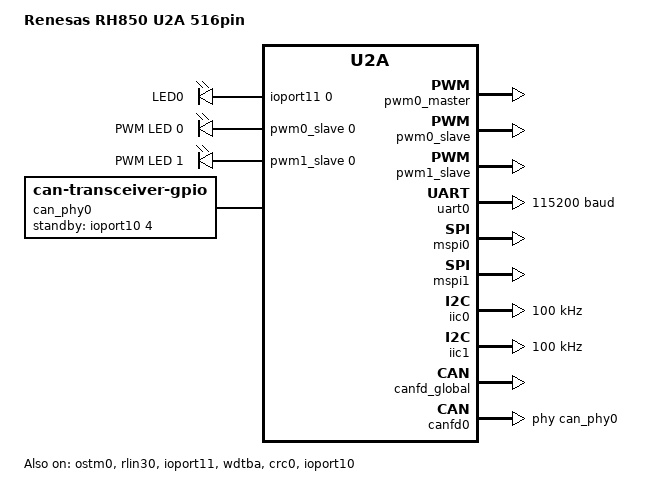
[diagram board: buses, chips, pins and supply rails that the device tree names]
/*
 * Copyright (c) 2026 Renesas Electronics Corporation
 * SPDX-License-Identifier: Apache-2.0
 */

/dts-v1/;

#include <rh850/renesas/rh850u2a/r7f702300bebbc-c.dtsi>
#include <dt-bindings/gpio/gpio.h>
#include <dt-bindings/pwm/pwm.h>

#include "pb_rh850u2a_516pin-pinctrl.dtsi"

/ {
	model = "Renesas RH850 U2A 516pin";
	compatible = "renesas,pb-rh850u2a-516pin", "renesas,u2a";

	chosen {
		zephyr,console = &uart0;
		zephyr,shell-uart = &uart0;
		zephyr,sram = &sram0;
		zephyr,flash = &flash0;
		zephyr,system-timer = &ostm0;
		zephyr,crc = &crc0;
		zephyr,canbus = &canfd0;
	};

	aliases {
		led0 = &led0;
		watchdog0 = &wdtba;
		pwm-led0 = &pwm_led_0;
		pwm-led1 = &pwm_led_1;
	};

	leds {
		compatible = "gpio-leds";

		led0: led0 {
			gpios = <&ioport11 0 GPIO_ACTIVE_HIGH>;
			label = "LED0";
		};
	};

	pwmleds {
		compatible = "pwm-leds";

		pwm_led_0: pwm_led_0 {
			pwms = <&pwm0_slave 0 PWM_MSEC(20) PWM_POLARITY_NORMAL>;
			label = "PWM LED 0";
		};

		pwm_led_1: pwm_led_1 {
			pwms = <&pwm1_slave 0 PWM_MSEC(20) PWM_POLARITY_INVERTED>;
			label = "PWM LED 1";
		};
	};

	can_phy0: can-phy0 {
		compatible = "can-transceiver-gpio";
		standby-gpios = <&ioport10 4 GPIO_ACTIVE_HIGH>;
		max-bitrate = <8000000>;
		#phy-cells = <0>;
	};
};

&pwm0_master {
	status = "okay";
};

&pwm0_slave {
	pinctrl-0 = <&pwm0_slave_default>;
	pinctrl-names = "default";
	status = "okay";
};

&pwm1_slave {
	pinctrl-0 = <&pwm1_slave_default>;
	pinctrl-names = "default";
	status = "okay";
};

&ostm0 {
	status = "okay";

	timer {
		status = "okay";
	};
};

&rlin30 {
	pinctrl-0 = <&rlin30_default>;
	pinctrl-names = "default";
	status = "okay";

	uart0: uart {
		current-speed = <115200>;
		status = "okay";
	};
};

&mspi0 {
	pinctrl-0 = <&mspi0_default>;
	pinctrl-names = "default";
	channel = <0>;
	status = "okay";
};

&mspi1 {
	pinctrl-0 = <&mspi1_default>;
	pinctrl-names = "default";
	channel = <0>;
	status = "okay";
};

&ioport11 {
	status = "okay";
};

&iic0 {
	pinctrl-0 = <&iic0_default>;
	pinctrl-names = "default";
	clock-frequency = <100000>;
	status = "okay";
};

&iic1 {
	pinctrl-0 = <&iic1_default>;
	pinctrl-names = "default";
	clock-frequency = <100000>;
	status = "okay";
};

&wdtba {
	status = "okay";
};

&crc0 {
	status = "okay";
};

&canfd_global {
	status = "okay";
};

&canfd0 {
	pinctrl-0 = <&canfd0_default>;
	pinctrl-names = "default";
	status = "okay";
	rx-max-filters = <128>;
	phys = <&can_phy0>;
};

&ioport10 {
	status = "okay";
};
